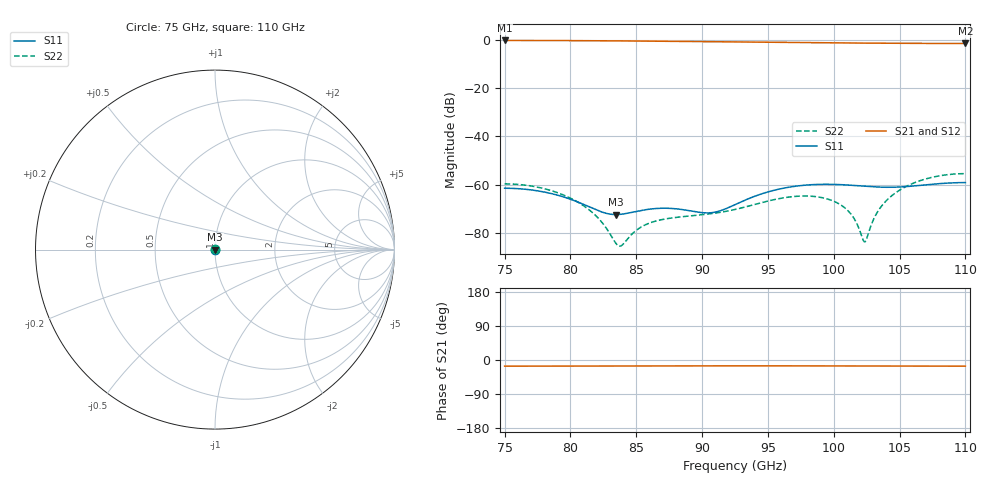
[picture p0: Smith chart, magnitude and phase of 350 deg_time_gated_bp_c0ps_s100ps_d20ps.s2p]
# Hz S RI R 50.000000
! Metas.Vna.Tools, 2.4.7724.19584
! Metas.Vna.Data, 2.4.7724.19560
! Created: UTC 2021.04.29 12:40:11
! FREQ  re:S1,1  im:S1,1  re:S2,1  im:S2,1  re:S1,2  im:S1,2  re:S2,2  im:S2,2
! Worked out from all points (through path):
!   1401 points, 75 GHz to 110 GHz, reference 50 ohm
!   highest |S21| = -0.25 dB at 75 GHz (marker M1); lowest = -1.5 dB at 110 GHz (marker M2)
!   lowest |S11| = -72.4 dB at 83.45 GHz (marker M3), VSWR 1.00, Z = 50 + j0.0131 ohm
!   |S11| at or under -10 dB: start of sweep to end of sweep
!   |S22| runs from -85.5 to -55.4 dB; largest |S21 - S12| = 0.11
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7.5e10  -0.000469 -0.000699  0.9326 -0.2717  0.9063 -0.3831  -0.000866 0.00057
7.8175e10  -0.000439 -0.000529  0.9303 -0.2698  0.9049 -0.38  -0.000669 0.000441
8.085e10  -0.000352 -0.000199  0.9247 -0.2657  0.9015 -0.3724  -0.00033 0.000205
8.195e10  -0.000296 -5.09e-05  0.9216 -0.2634  0.8996 -0.368  -0.000198 0.000104
8.295e10  -0.000235 7.47e-05  0.9183 -0.2612  0.8977 -0.3633  -9.87e-05 2.09e-05
8.345e10  -0.0002 0.000131  0.9165 -0.26  0.8966 -0.3608  -5.85e-05 -1.65e-05
8.47e10  -0.000107 0.000245  0.9117 -0.2569  0.8938 -0.3536  1.23e-05 -9.5e-05
8.6675e10  4.78e-05 0.000318  0.903 -0.252  0.8888 -0.3404  4.69e-05 -0.000175
9.055e10  0.000258 2.32e-05  0.8832 -0.243  0.8778 -0.3083  4.19e-05 -0.000244
9.25e10  0.000254 -0.000288  0.8725 -0.2394  0.872 -0.2897  0.00012 -0.000281
9.535e10  8.64e-05 -0.000744  0.8566 -0.2357  0.8638 -0.2608  0.00034 -0.00034
9.835e10  -0.000238 -0.000969  0.8408 -0.2338  0.8558 -0.2305  0.00048 -0.000314
9.965e10  -0.000393 -0.000936  0.8345 -0.2336  0.8528 -0.218  0.000429 -0.00024
1.00675e11  -0.000511 -0.000852  0.8299 -0.2336  0.8505 -0.2087  0.000325 -0.000149
1.0135e11  -0.000585 -0.000772  0.827 -0.2336  0.8492 -0.2029  0.000225 -7.49e-05
1.02225e11  -0.000672 -0.000644  0.8236 -0.2338  0.8475 -0.1958  6.17e-05 3.72e-05
1.02625e11  -0.000709 -0.000577  0.8221 -0.2339  0.8468 -0.1927  -2.4e-05 9.33e-05
1.0335e11  -0.00077 -0.000448  0.8196 -0.234  0.8457 -0.1875  -0.000193 0.000201
1.04175e11  -0.000831 -0.000292  0.817 -0.2343  0.8445 -0.1821  -0.000402 0.000329
1.05275e11  -0.000897 -8.26e-05  0.8141 -0.2346  0.8431 -0.1758  -0.000687 0.000499
1.06675e11  -0.000958 0.000158  0.8111 -0.2349  0.8417 -0.1696  -0.00102 0.000694
1.1e11  -0.00101 0.000434  0.8082 -0.2354  0.8404 -0.1632  -0.00142 0.000919
